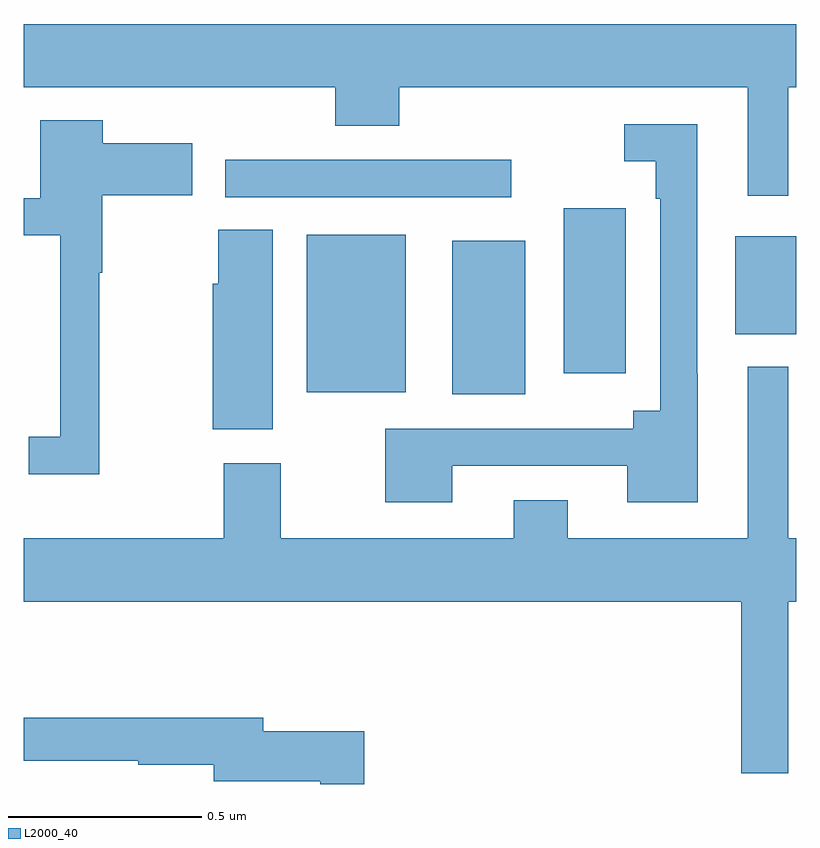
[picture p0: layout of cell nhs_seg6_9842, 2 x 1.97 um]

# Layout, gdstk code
import gdstk
lib = gdstk.Library(unit=1e-6, precision=1e-09)
def R(c, l, rs):  # rectangles x0, y0, x1, y1
    for r in rs: c.add(gdstk.rectangle(r[:2], r[2:], *l))
def P(c, l, *ps):  # polygons
    for p in ps: c.add(gdstk.Polygon(p, *l))
L2000_40 = (2000, 40)

nhs_seg6_9842 = lib.new_cell('nhs_seg6_9842')
R(nhs_seg6_9842, L2000_40, [(240.11,946.541,240.298,946.939), (239.732,946.547,239.989,946.954), (240.398,946.596,240.559,947.023), (240.842,946.697,241,946.951), (239.521,947.052,240.262,947.148)])
P(nhs_seg6_9842, L2000_40, [(240.979,947.336),(241,947.336),(241,947.5),(239,947.5),(239,947.336),(239.807,947.336),(239.807,947.237),(239.972,947.237),(239.972,947.336),(240.875,947.336),(240.875,947.055),(240.979,947.055)],
  [(239.195,946.856),(239.203,946.856),(239.203,947.057),(239.436,947.057),(239.436,947.191),(239.204,947.191),(239.204,947.251),(239.042,947.251),(239.042,947.049),(239,947.049),(239,946.953),(239.094,946.953),(239.094,946.431),(239.013,946.431),(239.013,946.334),(239.195,946.334)],
  [(240.109,946.356),(240.563,946.356),(240.563,946.262),(240.745,946.262),(240.745,946.594),(240.744,946.594),(240.744,947.241),(240.555,947.241),(240.555,947.145),(240.636,947.145),(240.636,947.048),(240.648,947.048),(240.648,946.498),(240.578,946.498),(240.578,946.452),(239.936,946.452),(239.936,946.262),(240.109,946.262)],
  [(239.644,946.967),(239.503,946.967),(239.503,946.827),(239.489,946.827),(239.489,946.451),(239.644,946.451)],
  [(240.979,946.004),(241,946.004),(241,946.168),(240.979,946.168),(240.979,946.612),(240.875,946.612),(240.875,946.168),(240.409,946.168),(240.409,946.267),(240.269,946.267),(240.269,946.168),(239.665,946.168),(239.665,946.363),(239.518,946.363),(239.518,946.168),(239,946.168),(239,946.004),(240.858,946.004),(240.858,945.56),(240.979,945.56)],
  [(239.881,945.669),(239.62,945.669),(239.62,945.703),(239,945.703),(239,945.592),(239.296,945.592),(239.296,945.582),(239.492,945.582),(239.492,945.539),(239.768,945.539),(239.768,945.532),(239.881,945.532)])

lib.write_gds('nhs_seg6_9842.gds')
